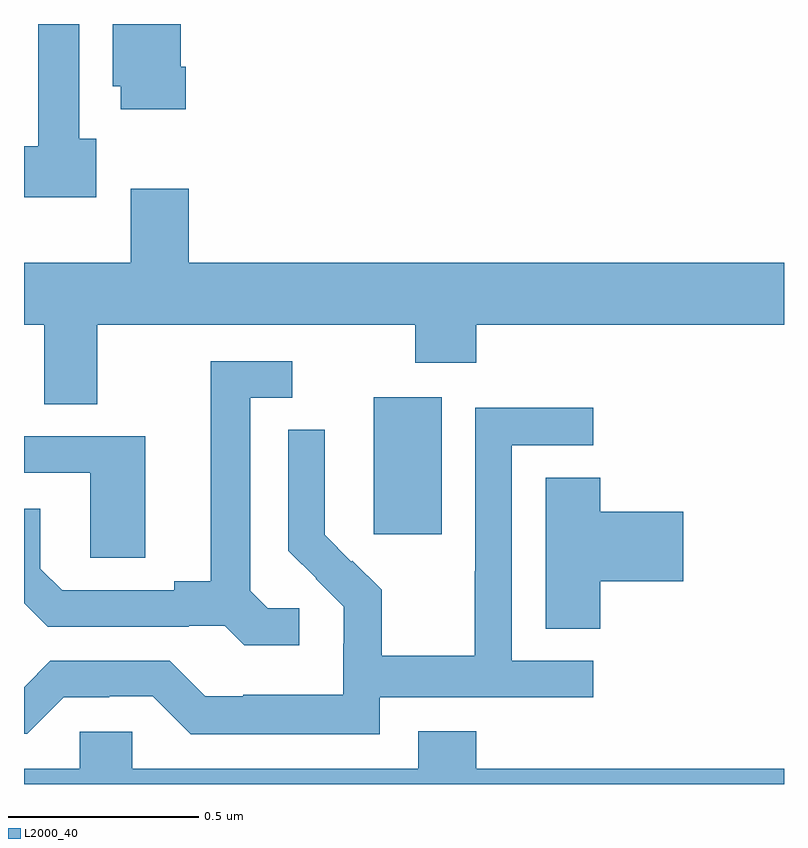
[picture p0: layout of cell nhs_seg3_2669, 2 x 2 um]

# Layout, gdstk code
import gdstk
lib = gdstk.Library(unit=1e-6, precision=1e-09)
def R(c, l, rs):  # rectangles x0, y0, x1, y1
    for r in rs: c.add(gdstk.rectangle(r[:2], r[2:], *l))
def P(c, l, *ps):  # polygons
    for p in ps: c.add(gdstk.Polygon(p, *l))
L2000_40 = (2000, 40)

nhs_seg3_2669 = lib.new_cell('nhs_seg3_2669')
R(nhs_seg3_2669, L2000_40, [(144.92,675.057,145.099,675.418)])
P(nhs_seg3_2669, L2000_40, [(144.19,676.098),(144.145,676.098),(144.145,676.4),(144.038,676.4),(144.038,676.078),(144,676.078),(144,675.944),(144.19,675.944)],
  [(144.425,676.288),(144.412,676.288),(144.412,676.4),(144.233,676.4),(144.233,676.236),(144.254,676.236),(144.254,676.176),(144.425,676.176)],
  [(144.193,675.608),(145.03,675.608),(145.03,675.509),(145.19,675.509),(145.19,675.608),(146,675.608),(146,675.772),(144.434,675.772),(144.434,675.967),(144.281,675.967),(144.281,675.772),(144,675.772),(144,675.608),(144.053,675.608),(144.053,675.4),(144.193,675.4)],
  [(144.724,674.862),(144.642,674.862),(144.595,674.909),(144.595,675.417),(144.706,675.417),(144.706,675.513),(144.491,675.513),(144.491,674.933),(144.395,674.933),(144.395,674.91),(144.1,674.91),(144.043,674.967),(144.043,675.124),(144,675.124),(144,674.876),(144.062,674.814),(144.434,674.814),(144.434,674.817),(144.528,674.817),(144.58,674.765),(144.724,674.765)],
  [(144.936,674.628),(145.498,674.628),(145.498,674.724),(145.284,674.724),(145.284,675.291),(145.498,675.291),(145.498,675.39),(145.188,675.39),(145.188,674.96),(145.186,674.96),(145.186,674.737),(144.941,674.737),(144.941,674.911),(144.864,674.988),(144.861,674.985),(144.791,675.056),(144.791,675.178),(144.792,675.178),(144.792,675.332),(144.696,675.332),(144.696,675.014),(144.769,674.941),(144.768,674.94),(144.842,674.866),(144.842,674.769),(144.84,674.769),(144.84,674.635),(144.577,674.635),(144.577,674.631),(144.477,674.631),(144.384,674.724),(144.069,674.724),(144,674.655),(144,674.532),(144.009,674.532),(144.105,674.628),(144.224,674.628),(144.224,674.631),(144.339,674.631),(144.439,674.531),(144.936,674.531)],
  [(144.319,675.315),(144,675.315),(144,675.219),(144.174,675.219),(144.174,674.995),(144.319,674.995)],
  [(145.517,674.933),(145.735,674.933),(145.735,675.116),(145.517,675.116),(145.517,675.206),(145.373,675.206),(145.373,674.809),(145.517,674.809)],
  [(146,674.44),(145.19,674.44),(145.19,674.539),(145.037,674.539),(145.037,674.44),(144.285,674.44),(144.285,674.538),(144.147,674.538),(144.147,674.44),(144,674.44),(144,674.4),(146,674.4)])

lib.write_gds('nhs_seg3_2669.gds')
